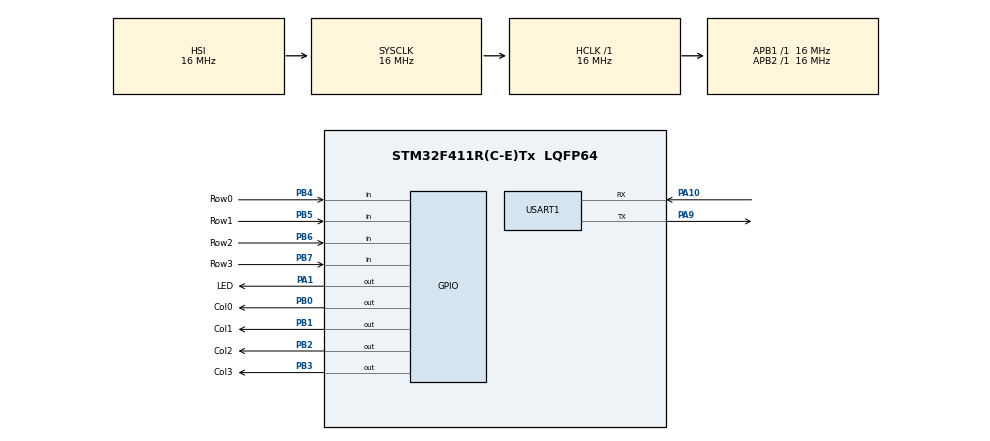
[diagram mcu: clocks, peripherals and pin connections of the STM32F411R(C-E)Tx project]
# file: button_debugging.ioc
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Mcu.Family=STM32F4
Mcu.Name=STM32F411R(C-E)Tx
Mcu.Package=LQFP64
NVIC.PriorityGroup=NVIC_PRIORITYGROUP_4
NVIC.TIM2_IRQn=true\:0\:0\:false\:false\:true\:true\:true\:true
NVIC.TIM3_IRQn=true\:0\:0\:false\:false\:true\:true\:true\:true
PA1.GPIO_Label=LED
PA1.Signal=GPIO_Output
PA10.Mode=Asynchronous
PA10.Signal=USART1_RX
PA9.Mode=Asynchronous
PA9.Signal=USART1_TX
PB0.GPIO_Label=Col0
PB0.GPIO_ModeDefaultOutputPP=GPIO_MODE_OUTPUT_PP
PB0.GPIO_PuPd=GPIO_NOPULL
PB0.Signal=GPIO_Output
PB1.GPIO_Label=Col1
PB1.GPIO_ModeDefaultOutputPP=GPIO_MODE_OUTPUT_PP
PB1.GPIO_PuPd=GPIO_NOPULL
PB1.Signal=GPIO_Output
PB2.GPIO_Label=Col2
PB2.GPIO_ModeDefaultOutputPP=GPIO_MODE_OUTPUT_PP
PB2.GPIO_PuPd=GPIO_NOPULL
PB2.Signal=GPIO_Output
PB3.GPIO_Label=Col3
PB3.GPIO_ModeDefaultOutputPP=GPIO_MODE_OUTPUT_PP
PB3.GPIO_PuPd=GPIO_NOPULL
PB3.Signal=GPIO_Output
PB4.GPIO_Label=Row0
PB4.GPIO_PuPd=GPIO_PULLDOWN
PB4.Signal=GPIO_Input
PB5.GPIO_Label=Row1
PB5.GPIO_PuPd=GPIO_PULLDOWN
PB5.Signal=GPIO_Input
PB6.GPIO_Label=Row2
PB6.GPIO_PuPd=GPIO_PULLDOWN
PB6.Signal=GPIO_Input
PB7.GPIO_Label=Row3
PB7.GPIO_PuPd=GPIO_PULLDOWN
PB7.Signal=GPIO_Input
ProjectManager.HeapSize=0x200
ProjectManager.StackSize=0x400
ProjectManager.TargetToolchain=STM32CubeIDE
RCC.AHBFreq_Value=16000000
RCC.APB1Freq_Value=16000000
RCC.APB2Freq_Value=16000000
RCC.CortexFreq_Value=16000000
RCC.HSE_VALUE=25000000
RCC.HSI_VALUE=16000000
RCC.LSE_VALUE=32768
RCC.SYSCLKFreq_VALUE=16000000
RCC.VCOOutputFreq_Value=192000000
TIM2.Period=100-1
TIM2.Prescaler=96-1
TIM3.Period=1000-1
TIM3.Prescaler=800-1
USART1.VirtualMode=VM_ASYNC
VP_TIM2_VS_ClockSourceINT.Mode=Internal
VP_TIM3_VS_ClockSourceINT.Mode=Internal
board=custom

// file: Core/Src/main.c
/* USER CODE BEGIN Header */
/**
  ******************************************************************************
  * @file           : main.c
  * @brief          : Main program body
  ******************************************************************************
  * @attention
  *
  * Copyright (c) 2024 STMicroelectronics.
  * All rights reserved.
  *
  * This software is licensed under terms that can be found in the LICENSE file
  * in the root directory of this software component.
  * If no LICENSE file comes with this software, it is provided AS-IS.
  *
  ******************************************************************************
  */
/* USER CODE END Header */
#include "main.h"

/* USER CODE BEGIN Includes */
#include <stdio.h>
/* USER CODE END Includes */

TIM_HandleTypeDef htim2;
TIM_HandleTypeDef htim3;

UART_HandleTypeDef huart1;

/* USER CODE BEGIN PV */
int col = 0;
//uint8_t buffer = 0;
uint8_t buffer[] = {0, 0, 0};
/* USER CODE END PV */

void SystemClock_Config(void);
static void MX_GPIO_Init(void);
static void MX_USART1_UART_Init(void);
static void MX_TIM2_Init(void);
static void MX_TIM3_Init(void);
/* USER CODE BEGIN PFP */
void buttons_init(void);
void drive_column(void);
uint8_t read_rows(void);
/* USER CODE END PFP */

/* USER CODE BEGIN 0 */
#ifdef __GNUC__
  /* With GCC, small printf (option LD Linker->Libraries->Small printf
     set to 'Yes') calls __io_putchar() */
int __io_putchar(int ch)
#else
int fputc(int ch, FILE *f)
#endif /* __GNUC__ */

{
  /* Place your implementation of fputc here */
  /* e.g. write a character to the UART3 and Loop until the end of transmission */
  HAL_UART_Transmit(&huart1, (uint8_t *)&ch, 1, HAL_MAX_DELAY);
  return ch;
}
/* USER CODE END 0 */

int main(void)
{

  /* MCU Configuration--------------------------------------------------------*/

  /* Reset of all peripherals, Initializes the Flash interface and the Systick. */
  HAL_Init();

  /* Configure the system clock */
  SystemClock_Config();

  /* Initialize all configured peripherals */
  MX_GPIO_Init();
  MX_USART1_UART_Init();
  MX_TIM2_Init();
  MX_TIM3_Init();
  /* USER CODE BEGIN 2 */
  HAL_GPIO_WritePin(LED_GPIO_Port, LED_Pin, GPIO_PIN_SET);
  HAL_TIM_Base_Start_IT(&htim2);
  HAL_TIM_Base_Start_IT(&htim3);
  buttons_init();
  /* USER CODE END 2 */

  /* Infinite loop */
  while (1)
  {

    /* USER CODE BEGIN 3 */
//	  if (col > 3) {
//		  col = 0;
//	  }
//	  GPIOB->BSRR = 0xf;
//	  GPIOB->BSRR = 0x1 << (col + 16);
//	  buffer = ~((GPIOB->IDR & 0xf0) >> 4) & 0xf;
//	  printf("col %d: %X\r\n", col, buffer);
//	  col++;
//	  HAL_Delay(50);
  }
  /* USER CODE END 3 */
}

void SystemClock_Config(void)
{
  RCC_OscInitTypeDef RCC_OscInitStruct = {0};
  RCC_ClkInitTypeDef RCC_ClkInitStruct = {0};

  /** Configure the main internal regulator output voltage
  */
  __HAL_RCC_PWR_CLK_ENABLE();
  __HAL_PWR_VOLTAGESCALING_CONFIG(PWR_REGULATOR_VOLTAGE_SCALE1);

  /** Initializes the RCC Oscillators according to the specified parameters
  * in the RCC_OscInitTypeDef structure.
  */
  RCC_OscInitStruct.OscillatorType = RCC_OSCILLATORTYPE_HSI;
  RCC_OscInitStruct.HSIState = RCC_HSI_ON;
  RCC_OscInitStruct.HSICalibrationValue = RCC_HSICALIBRATION_DEFAULT;
  RCC_OscInitStruct.PLL.PLLState = RCC_PLL_NONE;
  if (HAL_RCC_OscConfig(&RCC_OscInitStruct) != HAL_OK)
  {
    Error_Handler();
  }

  /** Initializes the CPU, AHB and APB buses clocks
  */
  RCC_ClkInitStruct.ClockType = RCC_CLOCKTYPE_HCLK|RCC_CLOCKTYPE_SYSCLK
                              |RCC_CLOCKTYPE_PCLK1|RCC_CLOCKTYPE_PCLK2;
  RCC_ClkInitStruct.SYSCLKSource = RCC_SYSCLKSOURCE_HSI;
  RCC_ClkInitStruct.AHBCLKDivider = RCC_SYSCLK_DIV1;
  RCC_ClkInitStruct.APB1CLKDivider = RCC_HCLK_DIV1;
  RCC_ClkInitStruct.APB2CLKDivider = RCC_HCLK_DIV1;

  if (HAL_RCC_ClockConfig(&RCC_ClkInitStruct, FLASH_LATENCY_0) != HAL_OK)
  {
    Error_Handler();
  }
}

static void MX_TIM2_Init(void)
{

  TIM_ClockConfigTypeDef sClockSourceConfig = {0};
  TIM_MasterConfigTypeDef sMasterConfig = {0};

  htim2.Instance = TIM2;
  htim2.Init.Prescaler = 96-1;
  htim2.Init.CounterMode = TIM_COUNTERMODE_UP;
  htim2.Init.Period = 100-1;
  htim2.Init.ClockDivision = TIM_CLOCKDIVISION_DIV1;
  htim2.Init.AutoReloadPreload = TIM_AUTORELOAD_PRELOAD_DISABLE;
  if (HAL_TIM_Base_Init(&htim2) != HAL_OK)
  {
    Error_Handler();
  }
  sClockSourceConfig.ClockSource = TIM_CLOCKSOURCE_INTERNAL;
  if (HAL_TIM_ConfigClockSource(&htim2, &sClockSourceConfig) != HAL_OK)
  {
    Error_Handler();
  }
  sMasterConfig.MasterOutputTrigger = TIM_TRGO_RESET;
  sMasterConfig.MasterSlaveMode = TIM_MASTERSLAVEMODE_DISABLE;
  if (HAL_TIMEx_MasterConfigSynchronization(&htim2, &sMasterConfig) != HAL_OK)
  {
    Error_Handler();
  }

}

static void MX_TIM3_Init(void)
{

  TIM_ClockConfigTypeDef sClockSourceConfig = {0};
  TIM_MasterConfigTypeDef sMasterConfig = {0};

  htim3.Instance = TIM3;
  htim3.Init.Prescaler = 800-1;
  htim3.Init.CounterMode = TIM_COUNTERMODE_UP;
  htim3.Init.Period = 1000-1;
  htim3.Init.ClockDivision = TIM_CLOCKDIVISION_DIV1;
  htim3.Init.AutoReloadPreload = TIM_AUTORELOAD_PRELOAD_DISABLE;
  if (HAL_TIM_Base_Init(&htim3) != HAL_OK)
  {
    Error_Handler();
  }
  sClockSourceConfig.ClockSource = TIM_CLOCKSOURCE_INTERNAL;
  if (HAL_TIM_ConfigClockSource(&htim3, &sClockSourceConfig) != HAL_OK)
  {
    Error_Handler();
  }
  sMasterConfig.MasterOutputTrigger = TIM_TRGO_RESET;
  sMasterConfig.MasterSlaveMode = TIM_MASTERSLAVEMODE_DISABLE;
  if (HAL_TIMEx_MasterConfigSynchronization(&htim3, &sMasterConfig) != HAL_OK)
  {
    Error_Handler();
  }

}

static void MX_USART1_UART_Init(void)
{

  huart1.Instance = USART1;
  huart1.Init.BaudRate = 115200;
  huart1.Init.WordLength = UART_WORDLENGTH_8B;
  huart1.Init.StopBits = UART_STOPBITS_1;
  huart1.Init.Parity = UART_PARITY_NONE;
  huart1.Init.Mode = UART_MODE_TX_RX;
  huart1.Init.HwFlowCtl = UART_HWCONTROL_NONE;
  huart1.Init.OverSampling = UART_OVERSAMPLING_16;
  if (HAL_UART_Init(&huart1) != HAL_OK)
  {
    Error_Handler();
  }

}

static void MX_GPIO_Init(void)
{
  GPIO_InitTypeDef GPIO_InitStruct = {0};

  /* GPIO Ports Clock Enable */
  __HAL_RCC_GPIOA_CLK_ENABLE();
  __HAL_RCC_GPIOB_CLK_ENABLE();

  /*Configure GPIO pin Output Level */
  HAL_GPIO_WritePin(LED_GPIO_Port, LED_Pin, GPIO_PIN_RESET);

  /*Configure GPIO pin Output Level */
  HAL_GPIO_WritePin(GPIOB, Col0_Pin|Col1_Pin|Col2_Pin|Col3_Pin, GPIO_PIN_RESET);

  /*Configure GPIO pin : LED_Pin */
  GPIO_InitStruct.Pin = LED_Pin;
  GPIO_InitStruct.Mode = GPIO_MODE_OUTPUT_PP;
  GPIO_InitStruct.Pull = GPIO_NOPULL;
  GPIO_InitStruct.Speed = GPIO_SPEED_FREQ_LOW;
  HAL_GPIO_Init(LED_GPIO_Port, &GPIO_InitStruct);

  /*Configure GPIO pins : Col0_Pin Col1_Pin Col2_Pin Col3_Pin */
  GPIO_InitStruct.Pin = Col0_Pin|Col1_Pin|Col2_Pin|Col3_Pin;
  GPIO_InitStruct.Mode = GPIO_MODE_OUTPUT_PP;
  GPIO_InitStruct.Pull = GPIO_NOPULL;
  GPIO_InitStruct.Speed = GPIO_SPEED_FREQ_LOW;
  HAL_GPIO_Init(GPIOB, &GPIO_InitStruct);

  /*Configure GPIO pins : Row0_Pin Row1_Pin Row2_Pin Row3_Pin */
  GPIO_InitStruct.Pin = Row0_Pin|Row1_Pin|Row2_Pin|Row3_Pin;
  GPIO_InitStruct.Mode = GPIO_MODE_INPUT;
  GPIO_InitStruct.Pull = GPIO_PULLDOWN;
  HAL_GPIO_Init(GPIOB, &GPIO_InitStruct);

}

/* USER CODE BEGIN 4 */
void buttons_init(void) {
	  GPIOB->BSRR = 0xf;
	  GPIOB->BSRR = 0x1 << 16;
}

void drive_column(void) {
	col = (col + 1) & 0x3;
	GPIOB->BSRR = 0xf << 16;
	GPIOB->BSRR = 0x1 << (col);
}

uint8_t read_rows(void) {
	return ((GPIOB->IDR & 0xf0) >> 4) & 0xf;
}

void HAL_TIM_PeriodElapsedCallback(TIM_HandleTypeDef *htim) {
	if (htim == &htim2) {
		uint8_t rows = read_rows();
		int idx = col / 2;
		buffer[idx] &= ~(0xf << ((col % 2) * 4));
		buffer[idx] |= rows << ((col % 2) * 4);
		drive_column();
//		buffer[2] = HAL_GPIO_ReadPin(Button17_GPIO_Port, Button17_Pin) | HAL_GPIO_ReadPin(Button18_GPIO_Port, Button18_Pin) << 1;
	}
	if (htim == &htim3) {
		printf("buffer: %X, %X, %X\r\n", buffer[2], buffer[1], buffer[0]);
	}
}
/* USER CODE END 4 */

void Error_Handler(void)
{
  __disable_irq();
  while (1)
  {
  }
}
